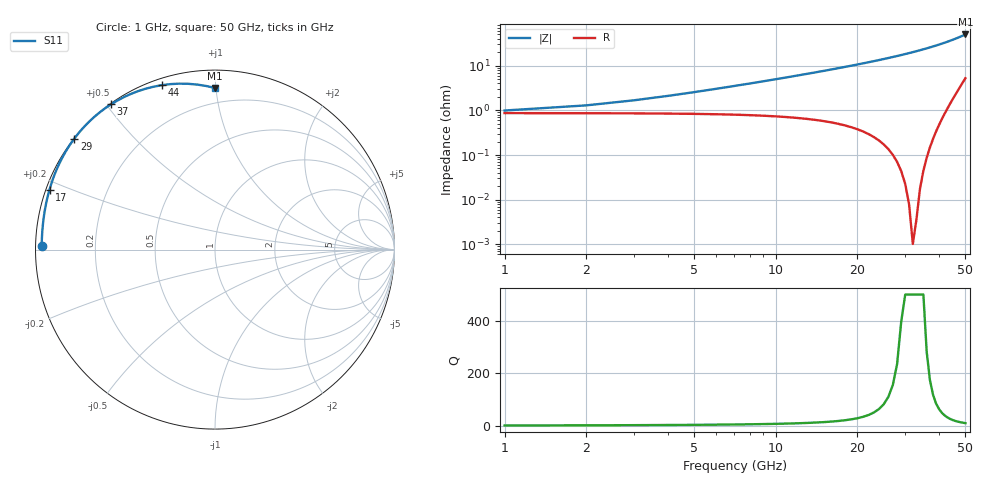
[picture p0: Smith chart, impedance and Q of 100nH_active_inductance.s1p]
! Created Thu Mar 12 11:03:42 2026
# hz S ma R 50
! Port[1] TermG1
! 1 Port Network Data from SP1.SP block
! freq  magS11  angS11
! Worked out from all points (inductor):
!   50 points, 1 GHz to 50 GHz, reference 50 ohm
!   read as one part to ground: L = 78 pH near 6 GHz
!   highest |Z| = 50 ohm at 50 GHz (marker M1)
!   S11 on the Smith chart (normalised r, x): 1 GHz: 0.02, +0.01; 17 GHz: 0.01, +0.18; 29 GHz: 0.00, +0.35; 37 GHz: 0.00, +0.51; 44 GHz: 0.03, +0.73; 50 GHz: 0.11, +1.00
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1e9  0.9659 178.9
5e9  0.9672 174.5
8e9  0.9694 171.1
1.1e10  0.9725 167.5
1.4e10  0.9763 163.9
1.7e10  0.9808 160.1
2e10  0.9857 156.0
2.3e10  0.9906 151.6
2.6e10  0.995 146.9
2.8e10  0.9975 143.5
2.9e10  0.9984 141.7
3.1e10  0.9997 138.1
3.2e10  1 136.1
3.4e10  0.9994 132.1
3.5e10  0.9985 130.0
3.7e10  0.9953 125.6
3.8e10  0.9929 123.3
3.9e10  0.9898 120.9
4.1e10  0.9815 116.0
4.2e10  0.9762 113.4
4.3e10  0.9701 110.7
4.4e10  0.963 107.9
4.5e10  0.955 105.1
4.6e10  0.946 102.2
4.7e10  0.9361 99.3
4.8e10  0.9251 96.2
4.9e10  0.9131 93.1
5e10  0.9 90.0
